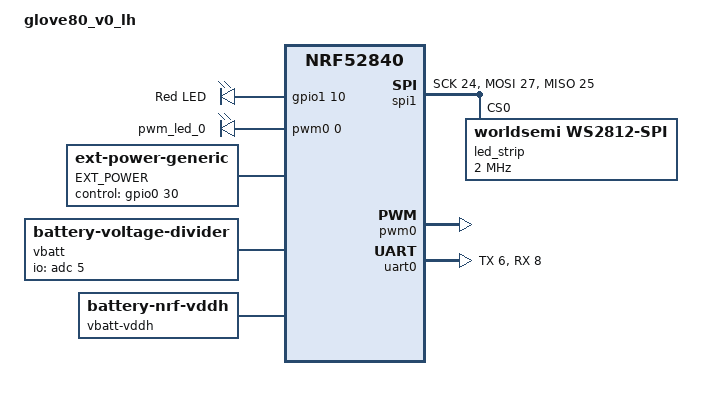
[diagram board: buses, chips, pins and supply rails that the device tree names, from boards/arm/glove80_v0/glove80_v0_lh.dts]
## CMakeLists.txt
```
cmake_minimum_required(VERSION 3.13.1)

set(CONFIG_APPLICATION_DEFINED_SYSCALL true)

set(ZEPHYR_EXTRA_MODULES "${ZMK_EXTRA_MODULES};${CMAKE_CURRENT_SOURCE_DIR}/module;${CMAKE_CURRENT_SOURCE_DIR}/keymap-module")

# Find Zephyr. This also loads Zephyr's build system.
find_package(Zephyr REQUIRED HINTS ../zephyr)
project(zmk)

if(CONFIG_ZMK_SLEEP)
  zephyr_linker_sources(SECTIONS include/linker/zmk-pm-devices.ld)
endif()

zephyr_linker_sources(SECTIONS include/linker/zmk-behaviors.ld)
zephyr_linker_sources(RODATA include/linker/zmk-events.ld)

zephyr_syscall_header(${APPLICATION_SOURCE_DIR}/include/drivers/behavior.h)
zephyr_syscall_header(${APPLICATION_SOURCE_DIR}/include/drivers/ext_power.h)

# Add your source file to the "app" target. This must come after
# find_package(Zephyr) which defines the target.
target_include_directories(app PRIVATE include)
target_sources(app PRIVATE src/stdlib.c)
target_sources(app PRIVATE src/activity.c)
target_sources(app PRIVATE src/behavior.c)
target_sources(app PRIVATE src/kscan.c)
target_sources(app PRIVATE src/matrix_transform.c)
target_sources(app PRIVATE src/sensors.c)
target_sources_ifdef(CONFIG_ZMK_WPM app PRIVATE src/wpm.c)
target_sources(app PRIVATE src/event_manager.c)
target_sources_ifdef(CONFIG_ZMK_EXT_POWER app PRIVATE src/ext_power_generic.c)
target_sources(app PRIVATE src/events/activity_state_changed.c)
target_sources(app PRIVATE src/events/position_state_changed.c)
target_sources(app PRIVATE src/events/sensor_event.c)
target_sources(app PRIVATE src/events/mouse_button_state_changed.c)
target_sources_ifdef(CONFIG_ZMK_WPM app PRIVATE src/events/wpm_state_changed.c)
target_sources_ifdef(CONFIG_USB_DEVICE_STACK app PRIVATE src/events/usb_conn_state_changed.c)
target_sources(app PRIVATE src/behaviors/behavior_reset.c)
target_sources_ifdef(CONFIG_ZMK_EXT_POWER app PRIVATE src/behaviors/behavior_ext_power.c)
if ((NOT CONFIG_ZMK_SPLIT) OR CONFIG_ZMK_SPLIT_ROLE_CENTRAL)
  target_sources(app PRIVATE src/hid.c)
  target_sources_ifdef(CONFIG_ZMK_MOUSE app PRIVATE src/mouse.c)
  target_sources(app PRIVATE src/behaviors/behavior_key_press.c)
  target_sources_ifdef(CONFIG_ZMK_BEHAVIOR_KEY_TOGGLE app PRIVATE src/behaviors/behavior_key_toggle.c)
  target_sources(app PRIVATE src/behaviors/behavior_hold_tap.c)
  target_sources(app PRIVATE src/behaviors/behavior_sticky_key.c)
  target_sources(app PRIVATE src/behaviors/behavior_caps_word.c)
  target_sources(app PRIVATE src/behaviors/behavior_key_repeat.c)
  target_sources_ifdef(CONFIG_ZMK_BEHAVIOR_MACRO app PRIVATE src/behaviors/behavior_macro.c)
  target_sources(app PRIVATE src/behaviors/behavior_momentary_layer.c)
  target_sources(app PRIVATE src/behaviors/behavior_mod_morph.c)
  target_sources(app PRIVATE src/behaviors/behavior_outputs.c)
  target_sources(app PRIVATE src/behaviors/behavior_toggle_layer.c)
  target_sources(app PRIVATE src/behaviors/behavior_to_layer.c)
  target_sources(app PRIVATE src/behaviors/behavior_transparent.c)
  target_sources(app PRIVATE src/behaviors/behavior_none.c)
  target_sources_ifdef(CONFIG_ZMK_BEHAVIOR_SENSOR_ROTATE app PRIVATE src/behaviors/behavior_sensor_rotate.c)
  target_sources_ifdef(CONFIG_ZMK_BEHAVIOR_SENSOR_ROTATE_VAR app PRIVATE src/behaviors/behavior_sensor_rotate_var.c)
  target_sources_ifdef(CONFIG_ZMK_BEHAVIOR_SENSOR_ROTATE_COMMON app PRIVATE src/behaviors/behavior_sensor_rotate_common.c)
  target_sources_ifdef(CONFIG_ZMK_BEHAVIOR_MOUSE_KEY_PRESS app PRIVATE src/behaviors/behavior_mouse_key_press.c)
  target_sources(app PRIVATE src/combo.c)
  target_sources(app PRIVATE src/behaviors/behavior_tap_dance.c)
  target_sources(app PRIVATE src/behavior_queue.c)
  target_sources(app PRIVATE src/conditional_layer.c)
  target_sources(app PRIVATE src/endpoints.c)
  target_sources(app PRIVATE src/events/endpoint_changed.c)
  target_sources(app PRIVATE src/hid_listener.c)
  target_sources(app PRIVATE src/keymap.c)
  target_sources(app PRIVATE src/events/layer_state_changed.c)
  target_sources(app PRIVATE src/events/modifiers_state_changed.c)
  target_sources(app PRIVATE src/events/keycode_state_changed.c)
  target_sources_ifdef(CONFIG_ZMK_HID_INDICATORS app PRIVATE src/hid_indicators.c)

  if (CONFIG_ZMK_BLE)
    target_sources(app PRIVATE src/events/ble_active_profile_changed.c)
    target_sources(app PRIVATE src/behaviors/behavior_bt.c)
    target_sources(app PRIVATE src/ble.c)
    target_sources(app PRIVATE src/hog.c)
  endif()
endif()

if (CONFIG_ZMK_BLE)
  if (CONFIG_ZMK_SPLIT_ROLE_CENTRAL)
	  target_sources(app PRIVATE src/battery_split.c)
  else()
    target_sources(app PRIVATE src/battery.c)
  endif()
endif()

target_sources_ifdef(CONFIG_ZMK_RGB_UNDERGLOW app PRIVATE src/behaviors/behavior_rgb_underglow.c)
target_sources_ifdef(CONFIG_ZMK_BACKLIGHT app PRIVATE src/behaviors/behavior_backlight.c)

target_sources_ifdef(CONFIG_ZMK_BATTERY_REPORTING app PRIVATE src/events/battery_state_changed.c)
target_sources_ifdef(CONFIG_ZMK_BATTERY_REPORTING app PRIVATE src/battery.c)

target_sources_ifdef(CONFIG_ZMK_HID_INDICATORS app PRIVATE src/events/hid_indicators_changed.c)

target_sources_ifdef(CONFIG_ZMK_SPLIT app PRIVATE src/events/split_peripheral_status_changed.c)
add_subdirectory(src/split)

target_sources_ifdef(CONFIG_USB_DEVICE_STACK app PRIVATE src/usb.c)
target_sources_ifdef(CONFIG_ZMK_RGB_UNDERGLOW app PRIVATE src/rgb_underglow.c)
target_sources_ifdef(CONFIG_ZMK_BACKLIGHT app PRIVATE src/backlight.c)
target_sources_ifdef(CONFIG_ZMK_LOW_PRIORITY_WORK_QUEUE app PRIVATE src/workqueue.c)
target_sources(app PRIVATE src/main.c)

add_subdirectory(src/display/)

zephyr_cc_option(-Wfatal-errors)
```

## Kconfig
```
# Copyright (c) 2020 The ZMK Contributors
# SPDX-License-Identifier: MIT

mainmenu "ZMK Firmware"

menu "ZMK"

menu "Basic Keyboard Setup"

config ZMK_KEYBOARD_NAME
    string "Keyboard Name"

config USB_DEVICE_PRODUCT
    default ZMK_KEYBOARD_NAME

config BT_DEVICE_NAME
    default ZMK_KEYBOARD_NAME

config USB_DEVICE_VID
    default 0x1D50

config USB_DEVICE_PID
    default 0x615E

config USB_DEVICE_MANUFACTURER
    default "ZMK Project"

config BT_DIS_PNP_VID
    default 0x1D50

config BT_DIS_PNP_PID
    default 0x615E

config BT_DIS_MODEL
    default ZMK_KEYBOARD_NAME

config BT_DIS_MANUF
    default "ZMK Project"

# Hardware specific overrides

if SOC_SERIES_NRF52X

# Default on for our usage until boards implement retained bootmode.
config NRF_STORE_REBOOT_TYPE_GPREGRET
    bool
    default y

endif

menu "HID"

choice ZMK_HID_REPORT_TYPE
    prompt "HID Report Type"

config ZMK_HID_REPORT_TYPE_HKRO
    bool "#-Key Roll Over (HKRO) HID Report"
    help
      Enable # key roll over for HID report. This selection is "boot keyboard" compatible
      but limits the total number of possible keys to report as held to #.

config ZMK_HID_REPORT_TYPE_NKRO
    bool "Full N-Key Roll Over (NKRO) HID Report"
    help
      Enable full N-Key Roll Over for HID output. This selection will prevent the keyboard
      from working with some BIOS/UEFI versions that only support "boot keyboard" support.
      This option also prevents using some infrequently used higher range HID usages (notably F13-F24 and INTL1-9)
      These usages can be re enabled with ZMK_HID_KEYBOARD_NKRO_EXTENDED_REPORT.

endchoice

config ZMK_HID_KEYBOARD_NKRO_EXTENDED_REPORT
    bool "Enable extended NKRO reporting"
    depends on ZMK_HID_REPORT_TYPE_NKRO
    help
      Enables higher usage range for NKRO (F13-F24 and INTL1-9).
      Please note this is not compatible with Android currently and you will get no input


if ZMK_HID_REPORT_TYPE_HKRO

config ZMK_HID_KEYBOARD_REPORT_SIZE
    int "# Keyboard Keys Reportable"
    default 6

endif

config ZMK_HID_CONSUMER_REPORT_SIZE
    int "# Consumer Keys Reportable"
    default 6


choice ZMK_HID_CONSUMER_REPORT_USAGES
    prompt "HID Report Type"

config ZMK_HID_CONSUMER_REPORT_USAGES_FULL
    bool "Full Consumer HID Usage Support"
    help
      Enable full Consumer usage ID values to be sent to hosts. Allows for less
      frequently used usages, but has compatibability issues with some host OSes.

config ZMK_HID_CONSUMER_REPORT_USAGES_BASIC
    bool "Basic Consumer HID Usage Support"
    help
      Enable Consumer usage ID values up to "Playback Speed - Slow" to be sent to
      hosts. Allows for broader compatibability with more host OSes.

endchoice

config ZMK_HID_INDICATORS
    bool "HID Indicators"
    help
      Enable HID indicators, used for detecting state of Caps/Scroll/Num Lock,
      Kata, and Compose.

menu "Output Types"

config ZMK_USB
    bool "USB"
    depends on (!ZMK_SPLIT || (ZMK_SPLIT && ZMK_SPLIT_ROLE_CENTRAL))
    select USB
    select USB_DEVICE_STACK
    select USB_DEVICE_HID

config ZMK_USB_BOOT
    bool "USB Boot Protocol Support"
    depends on ZMK_USB
    select USB_HID_BOOT_PROTOCOL
    select USB_DEVICE_SOF

if ZMK_USB

config USB_NUMOF_EP_WRITE_RETRIES
    default 10

config USB_HID_POLL_INTERVAL_MS
    default 1

config ZMK_USB_BOOT
	bool "USB Boot Protocol Support"
	default y
	select USB_HID_BOOT_PROTOCOL
	select USB_DEVICE_SOF

if ZMK_USB_BOOT

# Declare boot keyboard interface
config USB_HID_PROTOCOL_CODE
	default 1

#ZMK_USB_BOOT
endif

#ZMK_USB
endif

menuconfig ZMK_BLE
    bool "BLE (HID over GATT)"
    select BT
    select BT_SMP
    select BT_SMP_SC_PAIR_ONLY
    select BT_SMP_APP_PAIRING_ACCEPT
    select BT_PERIPHERAL
    select BT_DIS
    imply BT_SETTINGS if !ARCH_POSIX
    imply SETTINGS if !ARCH_POSIX
    imply ZMK_BATTERY_REPORTING if !ARCH_POSIX

if ZMK_BLE

config ZMK_BLE_EXPERIMENTAL_CONN
    bool "Experimental BLE connection changes"
    help
      Enables a combination of settings that are planned to be default in future versions of ZMK
      to improve connection stability. This includes changes to timing on BLE pairing initation,
      restores use of the updated/new LLCP implementation, and disables 2M PHY support.

config ZMK_BLE_EXPERIMENTAL_SEC
    bool "Experimental BLE security changes"
    imply BT_SMP_ALLOW_UNAUTH_OVERWRITE
    help
      Enables a combination of settings that are planned to be officially supported in the future.
      This includes enabling BT Secure Connection passkey entry, and allows overwrite of keys from
      previously paired hosts.

config ZMK_BLE_EXPERIMENTAL_FEATURES
    bool "Experimental BLE connection and security settings/features"
    select ZMK_BLE_EXPERIMENTAL_CONN
    select ZMK_BLE_EXPERIMENTAL_SEC
    help
      Enables experimental connection changes and security features.

config ZMK_BLE_PASSKEY_ENTRY
    bool "Require passkey entry on the keyboard to complete pairing"
    default n
    select RING_BUFFER

config BT_SMP_ALLOW_UNAUTH_OVERWRITE
    imply ZMK_BLE_PASSKEY_ENTRY

config BT_CTLR_PHY_2M
    default n if ZMK_BLE_EXPERIMENTAL_CONN

# BT_TINYCRYPT_ECC is required for BT_SMP_SC_PAIR_ONLY when using HCI
config BT_TINYCRYPT_ECC
    default y if BT_HCI && !BT_CTLR

config SYSTEM_WORKQUEUE_STACK_SIZE
    default 4096 if SOC_RP2040
    default 2048

config ZMK_BLE_THREAD_STACK_SIZE
    int "BLE notify thread stack size"
    default 768

config ZMK_BLE_THREAD_PRIORITY
    int "BLE notify thread priority"
    default 5

config ZMK_BLE_KEYBOARD_REPORT_QUEUE_SIZE
    int "Max number of keyboard HID reports to queue for sending over BLE"
    default 20

config ZMK_BLE_CONSUMER_REPORT_QUEUE_SIZE
    int "Max number of consumer HID reports to queue for sending over BLE"
    default 5

config ZMK_BLE_MOUSE_REPORT_QUEUE_SIZE
    int "Max number of mouse HID reports to queue for sending over BLE"
    default 20

config ZMK_BLE_CLEAR_BONDS_ON_START
    bool "Configuration that clears all bond information from the keyboard on startup."
    default n

config ZMK_BLE_DEVICE_NAME_APPEND_SN
    bool "Append the device serial number to the Bluetooth device name"
    default n
    select BT_DEVICE_NAME_DYNAMIC

config ZMK_BLE_DEVICE_NAME_SN_CHARS
    int "Number of hexadecimal digits of serial number to append to the BT device name"
    default 6
    depends on ZMK_BLE_DEVICE_NAME_APPEND_SN

# HID GATT notifications sent this way are *not* picked up by Linux, and possibly others.
config BT_GATT_NOTIFY_MULTIPLE
    default n

config BT_GATT_AUTO_SEC_REQ
    default (ZMK_SPLIT_BLE && !ZMK_SPLIT_ROLE_CENTRAL)

config BT_DEVICE_APPEARANCE
    default 961

config BT_PERIPHERAL_PREF_MIN_INT
    default 6

config BT_PERIPHERAL_PREF_MAX_INT
    default 12

config BT_PERIPHERAL_PREF_LATENCY
    default 30

config BT_PERIPHERAL_PREF_TIMEOUT
    default 400

#ZMK_BLE
endif

#Output Types
endmenu

# HID
endmenu

rsource "src/split/Kconfig"

#Basic Keyboard Setup
endmenu

menu "Display/LED Options"

rsource "src/display/Kconfig"

menuconfig ZMK_RGB_UNDERGLOW
    bool "RGB Adressable LED Underglow"
    select LED_STRIP
    select ZMK_LOW_PRIORITY_WORK_QUEUE

if ZMK_RGB_UNDERGLOW

# This default value cuts down on tons of excess .conf files, if you're using GPIO, manually disable this
config SPI
    default y

config ZMK_RGB_UNDERGLOW_EXT_POWER
    bool "RGB underglow toggling also controls external power"
    default y

config ZMK_RGB_UNDERGLOW_BRT_MIN
    int "RGB underglow minimum brightness in percent"
    range 0 100
    default 0

config ZMK_RGB_UNDERGLOW_BRT_MAX
    int "RGB underglow maximum brightness in percent"
    range ZMK_RGB_UNDERGLOW_BRT_MIN 100
    default 100

config ZMK_RGB_UNDERGLOW_HUE_STEP
    int "RGB underglow hue step in degrees"
    range 0 359
    default 10

config ZMK_RGB_UNDERGLOW_SAT_STEP
    int "RGB underglow saturation step in percent"
    range 0 100
    default 10

config ZMK_RGB_UNDERGLOW_BRT_STEP
    int "RGB underglow brightness step in percent"
    range 0 100
    default 10

config ZMK_RGB_UNDERGLOW_HUE_START
    int "RGB underglow start hue value in degrees"
    range 0 359
    default 0

config ZMK_RGB_UNDERGLOW_SAT_START
    int "RGB underglow start saturations value in percent"
    range 0 100
    default 100

config ZMK_RGB_UNDERGLOW_BRT_START
    int "RGB underglow start brightness value in percent"
    range ZMK_RGB_UNDERGLOW_BRT_MIN ZMK_RGB_UNDERGLOW_BRT_MAX
    default ZMK_RGB_UNDERGLOW_BRT_MAX

config ZMK_RGB_UNDERGLOW_SPD_START
    int "RGB underglow start animation speed value"
    range 1 5
    default 3

config ZMK_RGB_UNDERGLOW_EFF_START
    int "RGB underglow start effect int value related to the effect enum list"
    range 0 3
    default 0

config ZMK_RGB_UNDERGLOW_ON_START
    bool "RGB underglow starts on by default"
    default y

config ZMK_RGB_UNDERGLOW_AUTO_OFF_IDLE
    bool "Turn off RGB underglow when keyboard goes into idle state"

config ZMK_RGB_UNDERGLOW_AUTO_OFF_USB
    bool "Turn off RGB underglow when USB is disconnected"
    depends on USB_DEVICE_STACK

#ZMK_RGB_UNDERGLOW
endif

menuconfig ZMK_BACKLIGHT
    bool "LED backlight"
    select LED

if ZMK_BACKLIGHT

config ZMK_BACKLIGHT_BRT_STEP
    int "Brightness step in percent"
    range 1 100
    default 20

config ZMK_BACKLIGHT_BRT_START
    int "Default brightness in percent"
    range 1 100
    default 40

config ZMK_BACKLIGHT_ON_START
    bool "Default backlight state"
    default y

config ZMK_BACKLIGHT_AUTO_OFF_IDLE
    bool "Turn off backlight when keyboard goes into idle state"

config ZMK_BACKLIGHT_AUTO_OFF_USB
    bool "Turn off backlight when USB is disconnected"

#ZMK_BACKLIGHT
endif

menuconfig ZMK_LED_INDICATORS
	bool "LED indicators"
	select LED

if ZMK_LED_INDICATORS

config ZMK_LED_INDICATORS_BRT
	int "Brightness in percent"
	range 1 100
	default 80

#ZMK_LED_INDICATORS
endif

#Display/LED Options
endmenu

menu "Mouse Options"

config ZMK_MOUSE
    bool "Enable ZMK mouse emulation"
    default n

#Mouse Options
endmenu

menu "Power Management"

config ZMK_BATTERY_REPORTING
    bool "Battery level detection/reporting"
    default n
    select SENSOR
    select ZMK_LOW_PRIORITY_WORK_QUEUE
    imply BT_BAS if ZMK_BLE

config ZMK_IDLE_TIMEOUT
    int "Milliseconds of inactivity before entering idle state (OLED shutoff, etc)"
    default 30000

config ZMK_SLEEP
    bool "Enable deep sleep support"
    depends on HAS_POWEROFF
    select POWEROFF
    imply USB

if ZMK_SLEEP

config PM_DEVICE
    default y

config ZMK_IDLE_SLEEP_TIMEOUT
    int "Milliseconds of inactivity before entering deep sleep"
    default 900000

#ZMK_SLEEP
endif

config ZMK_EXT_POWER
    bool "Enable support to control external power output"
    default y

if ZMK_EXT_POWER

config ZMK_EXT_POWER_START
    bool "Enable external power output by default"
    default y

#ZMK_EXT_POWER
endif

if ZMK_EXT_POWER

config ZMK_EXT_POWER_START
	bool "Enable external power output by default"
	default y

#ZMK_EXT_POWER
endif

#Power Management
endmenu

menu "Combo options"

config ZMK_COMBO_MAX_PRESSED_COMBOS
    int "Maximum number of currently pressed combos"
    default 4

config ZMK_COMBO_MAX_COMBOS_PER_KEY
    int "Maximum number of combos per key"
    default 5

config ZMK_COMBO_MAX_KEYS_PER_COMBO
    int "Maximum number of keys per combo"
    default 4

#Combo options
endmenu

menu "Behavior Options"

config ZMK_BEHAVIORS_QUEUE_SIZE
    int "Maximum number of behaviors to allow queueing from a macro or other complex behavior"
    default 64

rsource "Kconfig.behaviors"

config ZMK_MACRO_DEFAULT_WAIT_MS
    int "Default time to wait (in milliseconds) before triggering the next behavior in macros"
    default 15

config ZMK_MACRO_DEFAULT_TAP_MS
    int "Default time to wait (in milliseconds) between the press and release events of a tapped behavior in macros"
    default 30

endmenu

menu "Advanced"

menu "Initialization Priorities"

if USB_DEVICE_STACK

config ZMK_USB_INIT_PRIORITY
    int "USB Init Priority"
    default 50

#USB
endif

if ZMK_BLE || ZMK_SPLIT_BLE

config ZMK_BLE_INIT_PRIORITY
    int "BLE Init Priority"
    default 50

#ZMK_BLE || ZMK_SPLIT_BLE
endif

#Initialization Priorities
endmenu

menuconfig ZMK_KSCAN
    bool "ZMK KScan Integration"
    default y
    select KSCAN

if ZMK_KSCAN

config ZMK_KSCAN_EVENT_QUEUE_SIZE
    int "Size of the event queue for KSCAN events to buffer events"
    default 4

endif # ZMK_KSCAN

menu "Logging"

config ZMK_LOGGING_MINIMAL
    bool "Suppress all ZMK debug log messages"
    default false

if !ZMK_LOGGING_MINIMAL

config ZMK_LOG_LEVEL
    default 4

endif

config ZMK_USB_LOGGING
    bool "Enable USB CDC ACM logging to help debug"
    select LOG
    select USB
    select USB_DEVICE_STACK
    select USB_CDC_ACM
    select SERIAL
    select CONSOLE
    select UART_INTERRUPT_DRIVEN
    select UART_LINE_CTRL
    select UART_CONSOLE
    select USB_UART_CONSOLE

if ZMK_USB_LOGGING

choice USB_CDC_ACM_LOG_LEVEL_CHOICE
    default USB_CDC_ACM_LOG_LEVEL_OFF
endchoice

choice USB_DRIVER_LOG_LEVEL_CHOICE
    default USB_DRIVER_LOG_LEVEL_OFF
endchoice

# We do this to avoid log loop where logging to USB generates more log messages.

config USB_CDC_ACM_RINGBUF_SIZE
    default 1024

config LOG_PROCESS_THREAD_STARTUP_DELAY_MS
    default 1000

#ZMK_USB_LOGGING
endif

config ZMK_RTT_LOGGING
    bool "Enable RTT logging to help debug"
    select LOG
    select DEBUG
    select ASSERT
    select USE_SEGGER_RTT
    select CONSOLE
    select RTT_CONSOLE

if ZMK_RTT_LOGGING

config SEGGER_RTT_BUFFER_SIZE_UP
    default 8192

#ZMK_RTT_LOGGING
endif

if ZMK_USB_LOGGING || ZMK_RTT_LOGGING

config LOG_BUFFER_SIZE
    default 8192

config LOG_PROCESS_THREAD_SLEEP_MS
    default 100

#ZMK_USB_LOGGING || ZMK_RTT_LOGGING
endif

#Logging
endmenu

if SETTINGS

config ZMK_SETTINGS_SAVE_DEBOUNCE
    int "Milliseconds to debounce settings saves"
    default 60000

#SETTINGS
endif

config ZMK_BATTERY_REPORT_INTERVAL
    depends on ZMK_BATTERY_REPORTING
    int "Battery level report interval in seconds"
    default 60

config ZMK_LOW_PRIORITY_WORK_QUEUE
    bool "Work queue for low priority items"

if ZMK_LOW_PRIORITY_WORK_QUEUE

config ZMK_LOW_PRIORITY_THREAD_STACK_SIZE
    int "Low priority thread stack size"
    default 768

config ZMK_LOW_PRIORITY_THREAD_PRIORITY
    int "Low priority thread priority"
    default 10

endif

#Advanced
endmenu

#ZMK
endmenu

config KERNEL_BIN_NAME
    default "zmk"

config REBOOT
    default y

config USB_DEVICE_STACK
    default y if HAS_HW_NRF_USBD

config FPU
    default CPU_HAS_FPU

config ZMK_WPM
    bool "Calculate WPM"
    default n

config ZMK_KEYMAP_SENSORS
    bool "Enable Keymap Sensors support"
    default y
    depends on DT_HAS_ZMK_KEYMAP_SENSORS_ENABLED
    select SENSOR

if ZMK_KEYMAP_SENSORS

config ZMK_KEYMAP_SENSORS_DEFAULT_TRIGGERS_PER_ROTATION
    int "Default triggers per rotation"
    help
      Unless overridden for a sensor in the board/shield/devicetree, this value
      determines how many times to trigger the bound behavior per full rotation.
      For tactile encoders with detents, this usually should match the number of
      detents per rotation of the encoder.
    default 20

endif # ZMK_KEYMAP_SENSORS

choice CBPRINTF_IMPLEMENTATION
    default CBPRINTF_NANO

endchoice

module = ZMK
module-str = zmk
source "subsys/logging/Kconfig.template.log_config"

rsource "boards/Kconfig"
rsource "boards/shields/*/Kconfig.defconfig"
rsource "boards/shields/*/Kconfig.shield"

osource "$(ZMK_CONFIG)/boards/shields/*/Kconfig.defconfig"
osource "$(ZMK_CONFIG)/boards/shields/*/Kconfig.shield"


source "Kconfig.zephyr"
```

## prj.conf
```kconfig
CONFIG_ZMK_BEHAVIORS_QUEUE_SIZE=512

# Increase stacks to reduce possibility of an overflow.
CONFIG_MAIN_STACK_SIZE=2048
CONFIG_SYSTEM_WORKQUEUE_STACK_SIZE=2048
CONFIG_ZMK_BLE_THREAD_STACK_SIZE=2048
CONFIG_ZMK_BLE_SPLIT_CENTRAL_SPLIT_RUN_STACK_SIZE=2048
CONFIG_ISR_STACK_SIZE=2048
CONFIG_APPLICATION_DEFINED_SYSCALL=y
```

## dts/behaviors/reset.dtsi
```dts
/*
 * Copyright (c) 2020 The ZMK Contributors
 *
 * SPDX-License-Identifier: MIT
 */

#include <dt-bindings/zmk/reset.h>

/ {
	behaviors {
		reset: behavior_reset {
			compatible = "zmk,behavior-reset";
			label = "RESET";
			#binding-cells = <0>;
		};

		bootloader: behavior_reset_dfu {
			compatible = "zmk,behavior-reset";
			label = "BOOTLOAD";
			type = <RST_UF2>;
			#binding-cells = <0>;
		};

		ota_bootloader: behavior_reset_dfu_ota {
			compatible = "zmk,behavior-reset";
			label = "OTA_BOOTLOAD";
			type = <RST_OTA>;
			#binding-cells = <0>;
		};
	};
};
```

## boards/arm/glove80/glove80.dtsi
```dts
/*
 * Copyright (c) 2020 Pete Johanson
 *
 * SPDX-License-Identifier: MIT
 */

#include <dt-bindings/zmk/matrix_transform.h>

/ {
	chosen {
		zmk,kscan = &kscan0;
		zmk,matrix_transform = &default_transform;
		zephyr,code-partition = &code_partition;
		zephyr,sram = &sram0;
		zephyr,flash = &flash0;
		zephyr,console = &cdc_acm_uart;
	};

	default_transform: keymap_transform_0 {
		compatible = "zmk,matrix-transform";
		columns = <14>;
		rows = <6>;
		map = <
RC(0,0) RC(0,1) RC(0,2) RC(0,3) RC(0,4)                                                                    RC(0,9) RC(0,10) RC(0,11) RC(0,12) RC(0,13)
RC(1,0) RC(1,1) RC(1,2) RC(1,3) RC(1,4) RC(1,5)                                                    RC(1,8) RC(1,9) RC(1,10) RC(1,11) RC(1,12) RC(1,13)
RC(2,0) RC(2,1) RC(2,2) RC(2,3) RC(2,4) RC(2,5)                                                    RC(2,8) RC(2,9) RC(2,10) RC(2,11) RC(2,12) RC(2,13)
RC(3,0) RC(3,1) RC(3,2) RC(3,3) RC(3,4) RC(3,5)                                                    RC(3,8) RC(3,9) RC(3,10) RC(3,11) RC(3,12) RC(3,13)
RC(4,0) RC(4,1) RC(4,2) RC(4,3) RC(4,4) RC(4,5) RC(0,6) RC(1,6) RC(2,6)   RC(2,7) RC(1,7)  RC(0,7) RC(4,8) RC(4,9) RC(4,10) RC(4,11) RC(4,12) RC(4,13)
RC(5,0) RC(5,1) RC(5,2) RC(5,3) RC(5,4)         RC(3,6) RC(4,6) RC(5,6)   RC(5,7) RC(4,7)  RC(3,7)         RC(5,9) RC(5,10) RC(5,11) RC(5,12) RC(5,13)
		>;
	};

	kscan0: kscan {
		compatible = "zmk,kscan-gpio-matrix";
		label = "KSCAN";

		diode-direction = "col2row";
		debounce-press-ms = <4>;
		debounce-release-ms = <20>;
	};

};

&adc {
	status = "okay";
};

&gpiote {
	status = "okay";
};

&gpio0 {
	status = "okay";
};

&gpio1 {
	status = "okay";
};

&usbd {
	status = "okay";
	cdc_acm_uart: cdc_acm_uart {
		compatible = "zephyr,cdc-acm-uart";
		label = "CDC_ACM_0";
	};
};

&flash0 {
	/*
	 * For more information, see:
	 * http://docs.zephyrproject.org/latest/devices/dts/flash_partitions.html
	 */
	partitions {
		compatible = "fixed-partitions";
		#address-cells = <1>;
		#size-cells = <1>;

		sd_partition: partition@0 {
			label = "softdevice";
			reg = <0x00000000 0x00026000>;
		};
		

        code_partition: partition@1000 {
            label = "code_partition";
            reg = <0x00026000 0x000c6000>;
        };

		/*
		 * The flash starting at 0x000ec000 and ending at
		 * 0x000f3fff is reserved for use by the application.
		 */

		/*
		 * Storage partition will be used by FCB/LittleFS/NVS
		 * if enabled.
		 */
		storage_partition: partition@ec000 {
			label = "storage";
			reg = <0x000ec000 0x00008000>;
		};

		boot_partition: partition@f4000 {
			label = "adafruit_boot";
			reg = <0x000f4000 0x0000c000>;
		};
	};
};
```

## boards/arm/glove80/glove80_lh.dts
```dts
/*
 * Copyright (c) 2021 The ZMK Contributors
 *
 * SPDX-License-Identifier: MIT
 */

/dts-v1/;
#include <nordic/nrf52840_qiaa.dtsi>
#include <dt-bindings/led/led.h>
#include "glove80.dtsi"

/ {
	model = "glove80_lh";
	compatible = "glove80_lh";

	chosen {
		zmk,underglow = &led_strip;
        zmk,backlight = &back_led_backlight;
		zmk,battery   = &vbatt;
		zmk,underglow-indicators = &underglow_indicators;
	};

	back_led_backlight: pwmleds {
		compatible = "pwm-leds";
		label = "BACK LED";
		pwm_led_0 {
			pwms = <&pwm0 47>; 
			label = "Back LED configured as backlight";
		};
	};

	ext-power {
		compatible = "zmk,ext-power-generic";
		label = "EXT_POWER";
		control-gpios = <&gpio0 31 GPIO_ACTIVE_HIGH>; /* WS2812_CE */
		init-delay-ms = <100>;
	};

	vbatt: vbatt-divider {
		compatible = "zmk,battery-voltage-divider";
		label = "BATTERY";
		io-channels = <&adc 5>;
		output-ohms = <820000>; 
		full-ohms = <(1500000 + 820000)>;
	};

	vbatt-vddh {
		compatible = "zmk,battery-nrf-vddh";
		label = "BATTERY-VDDH";
	};

/*
  MoErgo 40 LEDs

  34 28 22 16 10
  35 29 23 17 11 6
  36 30 24 18 12 7
  37 31 25 19 13 8
  38 32 26 20 14 9
  39 33 27 21 15
                0 1 2
                3 4 5
*/

	underglow_indicators: underglow-indicators {
		compatible  = "zmk,underglow-indicators";
		layer-state = <35 29 23 17 11 6>;
		bat-lhs     = <36 30 24 18 12 7>;
		bat-rhs     = <37 31 25 19 13 8>;
		capslock    = <22>;
		numlock     = <16>;
		scrolllock  = <10>;
		ble-state   = <3 4 0 1>;
		usb-state   = <5>;
		output-fallback = <15>;
	};
};

&spi1 {
	compatible = "nordic,nrf-spim";
	/* Cannot be used together with i2c0. */
	status = "okay";
	mosi-pin = <27>; /* WS2812_VEXT_DATA */
	// Unused pins, needed for SPI definition, but not used by the ws2812 driver itself.
	sck-pin = <13>; /* Must select a not connected pin */
	miso-pin = <14>; /* Must select a not connected pin */

	led_strip: ws2812@0 {
		compatible = "worldsemi,ws2812-spi";
		label = "WS2812C-2020";

		/* SPI */
		reg = <0>; /* ignored, but necessary for SPI bindings */
		spi-max-frequency = <4000000>;

		/* WS2812 */
		chain-length = <40>; /* 40 keys have underglow at the moment */
		spi-one-frame = <0x70>;
		spi-zero-frame = <0x40>;

		color-mapping = <LED_COLOR_ID_GREEN LED_COLOR_ID_RED LED_COLOR_ID_BLUE>;
	};
};

&pwm0 {
	status = "okay";
	ch0-pin = <47>; 
};


/* [SC] Pretty sure this is not required
&uart0 {
	compatible = "nordic,nrf-uarte";
	tx-pin = <6>;
	rx-pin = <8>;
};
*/

&kscan0 {
	row-gpios
		= <&gpio0 26 (GPIO_ACTIVE_HIGH | GPIO_PULL_DOWN)> // LH ROW1
		, <&gpio0 5 (GPIO_ACTIVE_HIGH | GPIO_PULL_DOWN)> // LH ROW2
		, <&gpio0 6 (GPIO_ACTIVE_HIGH | GPIO_PULL_DOWN)> // LH ROW3
		, <&gpio0 8 (GPIO_ACTIVE_HIGH | GPIO_PULL_DOWN)> // LH ROW4
		, <&gpio0 7 (GPIO_ACTIVE_HIGH | GPIO_PULL_DOWN)> // LH ROW5
		, <&gpio1 9 (GPIO_ACTIVE_HIGH | GPIO_PULL_DOWN)> // LH ROW6
		;
	col-gpios
		= <&gpio1 8 GPIO_ACTIVE_HIGH> // LH COL6
		, <&gpio1 4 GPIO_ACTIVE_HIGH> // LH COL5
		, <&gpio1 6 GPIO_ACTIVE_HIGH> // LH COL4
		, <&gpio1 7 GPIO_ACTIVE_HIGH> // LH COL3
		, <&gpio1 5 GPIO_ACTIVE_HIGH> // LH COL2
		, <&gpio1 3 GPIO_ACTIVE_HIGH> // LH COL1
		, <&gpio1 1 GPIO_ACTIVE_HIGH> // LH Thumb
		;
	input-gpios
		= <&gpio1 8 GPIO_ACTIVE_HIGH>; // LH COL6
};
```

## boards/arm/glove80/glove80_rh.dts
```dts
/*
 * Copyright (c) 2021 The ZMK Contributors
 *
 * SPDX-License-Identifier: MIT
 */

/dts-v1/;
#include <nordic/nrf52840_qiaa.dtsi>
#include <dt-bindings/led/led.h>
#include "glove80.dtsi"

/ {
	model = "glove80_rh";
	compatible = "glove80_rh";

	chosen {
		zmk,underglow = &led_strip;
        zmk,backlight = &back_led_backlight;
		zmk,battery   = &vbatt;
	};

	back_led_backlight: pwmleds {
		compatible = "pwm-leds";
		label = "BACK LED";
		pwm_led_0 {
			pwms = <&pwm0 16>; 
			label = "Back LED configured as backlight";
		};
	};

	ext-power {
		compatible = "zmk,ext-power-generic";
		label = "EXT_POWER";
		control-gpios = <&gpio0 19 GPIO_ACTIVE_HIGH>; /* WS2812_CE */
		init-delay-ms = <100>;
	};

	vbatt: vbatt-divider {
		compatible = "zmk,battery-voltage-divider";
		label = "BATTERY";
		io-channels = <&adc 5>;
		output-ohms = <820000>; 
		full-ohms = <(1500000 + 820000)>;
	};

	vbatt-vddh {
		compatible = "zmk,battery-nrf-vddh";
		label = "BATTERY-VDDH";
	};
};

&spi1 {
	compatible = "nordic,nrf-spim";
	/* Cannot be used together with i2c0. */
	status = "okay";
	mosi-pin = <13>; /* WS2812_VEXT_DATA */
	// Unused pins, needed for SPI definition, but not used by the ws2812 driver itself.
	sck-pin = <27>; /* Must select a not connected pin */
	miso-pin = <14>; /* Must select a not connected pin */

	led_strip: ws2812@0 {
		compatible = "worldsemi,ws2812-spi";
		label = "WS2812C-2020";

		/* SPI */
		reg = <0>; /* ignored, but necessary for SPI bindings */
		spi-max-frequency = <4000000>;

		/* WS2812 */
		chain-length = <40>; /* 40 keys have underglow at the moment */
		spi-one-frame = <0x70>;
		spi-zero-frame = <0x40>;

		color-mapping = <LED_COLOR_ID_GREEN LED_COLOR_ID_RED LED_COLOR_ID_BLUE>;
	};
};

&pwm0 {
	status = "okay";
	ch0-pin = <16>; 
};


/* [SC] Pretty sure this is not required
&uart0 {
	compatible = "nordic,nrf-uarte";
	tx-pin = <6>;
	rx-pin = <8>;
};
*/

/* For right hand, the columns are offset by 7 */ 
&default_transform {
	col-offset = <7>;
};

&kscan0 {
	row-gpios
		= <&gpio0 26 (GPIO_ACTIVE_HIGH | GPIO_PULL_DOWN)> // RH ROW1
		, <&gpio0 5 (GPIO_ACTIVE_HIGH | GPIO_PULL_DOWN)> // RH ROW2
		, <&gpio0 7 (GPIO_ACTIVE_HIGH | GPIO_PULL_DOWN)> // RH ROW3
		, <&gpio1 8 (GPIO_ACTIVE_HIGH | GPIO_PULL_DOWN)> // RH ROW4
		, <&gpio0 11 (GPIO_ACTIVE_HIGH | GPIO_PULL_DOWN)> // RH ROW5
		, <&gpio0 12 (GPIO_ACTIVE_HIGH | GPIO_PULL_DOWN)> // RH ROW6
		;
	col-gpios
		= <&gpio1 6 GPIO_ACTIVE_HIGH> // RH Thumb
		, <&gpio1 4 GPIO_ACTIVE_HIGH> // RH COL1
		, <&gpio0 2 GPIO_ACTIVE_HIGH> // RH COL2
		, <&gpio1 7 GPIO_ACTIVE_HIGH> // RH COL3
		, <&gpio1 5 GPIO_ACTIVE_HIGH> // RH COL4
		, <&gpio1 3 GPIO_ACTIVE_HIGH> // RH COL5
		, <&gpio1 1 GPIO_ACTIVE_HIGH> // RH COL6
		;
	input-gpios = <&gpio1 1 GPIO_ACTIVE_HIGH>; // Adding for firmware build
};
```

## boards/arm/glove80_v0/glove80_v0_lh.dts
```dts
/*
 * Copyright (c) 2021 The ZMK Contributors
 *
 * SPDX-License-Identifier: MIT
 */

/dts-v1/;
#include <nordic/nrf52840_qiaa.dtsi>
#include <dt-bindings/led/led.h>
#include "glove80_v0.dtsi"
#include "glove80_v0_lh-pinctrl.dtsi"

/ {
    model = "glove80_v0_lh";
    compatible = "glove80_v0_lh";

    chosen {
        zmk,underglow = &led_strip;
        zmk,backlight = &power_led_backlight;
        zmk,battery   = &vbatt;
        zmk,underglow-indicators = &underglow_indicators;
    };

	leds {
		compatible = "gpio-leds";
		red_led: led_0 {
			gpios = <&gpio1 10 GPIO_ACTIVE_HIGH >;
			label = "Red LED";
		};
	};

    power_led_backlight: pwmleds {
        compatible = "pwm-leds";
        pwm_led_0 {
            pwms = <&pwm0 0 PWM_USEC(20) PWM_POLARITY_NORMAL>;
        };
    };

    // Node name must match original "EXT_POWER" label to preserve user settings.
    EXT_POWER {
        compatible = "zmk,ext-power-generic";
        control-gpios = <&gpio0 30 GPIO_ACTIVE_HIGH>; /**[SC] WS2812_CE */
        init-delay-ms = <10>;
    };

    vbatt: vbatt-divider {
        compatible = "zmk,battery-voltage-divider";
        io-channels = <&adc 5>;
        output-ohms = <820000>; /** Double check that this is right */
        full-ohms = <(1500000 + 820000)>;
    };

    vbatt-vddh {
        compatible = "zmk,battery-nrf-vddh";
    };

/*
  MoErgo 40 LEDs

  34 28 22 16 10
  35 29 23 17 11 6
  36 30 24 18 12 7
  37 31 25 19 13 8
  38 32 26 20 14 9
  39 33 27 21 15
                0 1 2
                3 4 5
*/

    underglow_indicators: underglow-indicators {
        compatible  = "zmk,underglow-indicators";
        layer-state = <35 29 23 17 11 6>;
        bat-lhs     = <36 30 24 18 12 7>;
        bat-rhs     = <37 31 25 19 13 8>;
        capslock    = <22>;
        numlock     = <16>;
        scrolllock  = <10>;
        ble-state   = <3 4 0 1>;
        usb-state   = <5>;
        output-fallback = <15>;
    };
};

&spi1 {
    compatible = "nordic,nrf-spim";
    /* Cannot be used together with i2c0. */
    status = "okay";
	mosi-pin = <27>;
	// Unused pins, needed for SPI definition, but not used by the ws2812 driver itself.
	sck-pin = <24>; // NC
	miso-pin = <25>; // NC

    pinctrl-0 = <&spi1_default>;
    pinctrl-1 = <&spi1_sleep>;
    pinctrl-names = "default", "sleep";
    led_strip: ws2812@0 {
        compatible = "worldsemi,ws2812-spi";

        /* SPI */
        reg = <0>; /* ignored, but necessary for SPI bindings */
        spi-max-frequency = <2000000>;

        /* WS2812 */
        chain-length = <40>; /* 18 keys have underglow at the moment */
        spi-one-frame = <0x70>;
        spi-zero-frame = <0x40>;

        color-mapping = <LED_COLOR_ID_GREEN LED_COLOR_ID_RED LED_COLOR_ID_BLUE>;
    };
};

&pwm0 {
    status = "okay";
	ch0-pin = <42>; /* 32 * 1 + 10 */
    pinctrl-0 = <&pwm0_default>;
    pinctrl-1 = <&pwm0_sleep>;
    pinctrl-names = "default", "sleep";
};


// [SC] Not sure if this section is necessary
&uart0 {
    compatible = "nordic,nrf-uarte";
	tx-pin = <6>;
	rx-pin = <8>;
    pinctrl-0 = <&uart0_default>;
    pinctrl-1 = <&uart0_sleep>;
    pinctrl-names = "default", "sleep";
};

&kscan0 {
    row-gpios
        = <&gpio0 26 GPIO_ACTIVE_HIGH> // LH ROW1
        , <&gpio0 5 GPIO_ACTIVE_HIGH> // LH ROW2
        , <&gpio0 7 GPIO_ACTIVE_HIGH> // LH ROW3
        , <&gpio1 8 GPIO_ACTIVE_HIGH> // LH ROW4
        , <&gpio0 11 GPIO_ACTIVE_HIGH> // LH ROW5
        , <&gpio0 12 GPIO_ACTIVE_HIGH> // LH ROW6
        ;
    col-gpios
        = <&gpio1 1 (GPIO_ACTIVE_HIGH | GPIO_PULL_DOWN)> // LH COL6
        , <&gpio1 3 (GPIO_ACTIVE_HIGH | GPIO_PULL_DOWN)> // LH COL5
        , <&gpio1 5 (GPIO_ACTIVE_HIGH | GPIO_PULL_DOWN)> // LH COL4
        , <&gpio1 7 (GPIO_ACTIVE_HIGH | GPIO_PULL_DOWN)> // LH COL3
        , <&gpio1 6 (GPIO_ACTIVE_HIGH | GPIO_PULL_DOWN)> // LH COL2
        , <&gpio1 4 (GPIO_ACTIVE_HIGH | GPIO_PULL_DOWN)> // LH COL1
        , <&gpio0 2 (GPIO_ACTIVE_HIGH | GPIO_PULL_DOWN)> // LH Thumb
        ;
};
```

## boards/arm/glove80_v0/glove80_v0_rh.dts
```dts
/*
 * Copyright (c) 2021 The ZMK Contributors
 *
 * SPDX-License-Identifier: MIT
 */

/dts-v1/;
#include <nordic/nrf52840_qiaa.dtsi>
#include <dt-bindings/led/led.h>
#include "glove80_v0.dtsi"
#include "glove80_v0_rh-pinctrl.dtsi"

/ {
    model = "glove80_v0_rh";
    compatible = "glove80_v0_rh";

    chosen {
        zmk,underglow = &led_strip;
        zmk,backlight = &power_led_backlight;
        zmk,battery   = &vbatt;
    };

    leds {
        compatible = "gpio-leds";
        red_led: led_0 {
            gpios = <&gpio0 20 GPIO_ACTIVE_HIGH>;
        };
    };

    power_led_backlight: pwmleds {
        compatible = "pwm-leds";
        pwm_led_0 {
            pwms = <&pwm0 0 PWM_USEC(20) PWM_POLARITY_NORMAL>;
        };
    };

    // Node name must match original "EXT_POWER" label to preserve user settings.
    EXT_POWER {
        compatible = "zmk,ext-power-generic";
        control-gpios = <&gpio0 21 GPIO_ACTIVE_HIGH>; /**[SC] WS2812_CE */
        init-delay-ms = <10>;
    };

    vbatt: vbatt-divider {
        compatible = "zmk,battery-voltage-divider";
        io-channels = <&adc 5>;
        output-ohms = <820000>; /** Double check that this is right */
        full-ohms = <(1500000 + 820000)>;
    };

    vbatt-vddh {
        compatible = "zmk,battery-nrf-vddh";
    };
};

&spi1 {
    compatible = "nordic,nrf-spim";
    /* Cannot be used together with i2c0. */
    status = "okay";
	mosi-pin = <13>;
	// Unused pins, needed for SPI definition, but not used by the ws2812 driver itself.
	sck-pin = <24>; // NC
	miso-pin = <25>; // NC

    pinctrl-0 = <&spi1_default>;
    pinctrl-1 = <&spi1_sleep>;
    pinctrl-names = "default", "sleep";
    led_strip: ws2812@0 {
        compatible = "worldsemi,ws2812-spi";

        /* SPI */
        reg = <0>; /* ignored, but necessary for SPI bindings */
        spi-max-frequency = <2000000>;

        /* WS2812 */
        chain-length = <40>;
        spi-one-frame = <0x70>;
        spi-zero-frame = <0x40>;

        color-mapping = <LED_COLOR_ID_GREEN LED_COLOR_ID_RED LED_COLOR_ID_BLUE>;
    };
};

&pwm0 {
    status = "okay";
	ch0-pin = <20>; /* 32 * 0 + 20 */
    pinctrl-0 = <&pwm0_default>;
    pinctrl-1 = <&pwm0_sleep>;
    pinctrl-names = "default", "sleep";
};

// [SC] Not sure if this section is necessary
&uart0 {
    compatible = "nordic,nrf-uarte";
	tx-pin = <6>;
	rx-pin = <8>;
    pinctrl-0 = <&uart0_default>;
    pinctrl-1 = <&uart0_sleep>;
    pinctrl-names = "default", "sleep";
};

&default_transform {
    col-offset = <7>;
};

&kscan0 {
    row-gpios
        = <&gpio0 26 GPIO_ACTIVE_HIGH> // RH ROW1
        , <&gpio0 5 GPIO_ACTIVE_HIGH> // RH ROW2
        , <&gpio0 7 GPIO_ACTIVE_HIGH> // RH ROW3
        , <&gpio1 8 GPIO_ACTIVE_HIGH> // RH ROW4
        , <&gpio0 11 GPIO_ACTIVE_HIGH> // RH ROW5
        , <&gpio0 12 GPIO_ACTIVE_HIGH> // RH ROW6
        ;
    col-gpios
        = <&gpio0 2 (GPIO_ACTIVE_HIGH | GPIO_PULL_DOWN)> // RH Thumb
        , <&gpio1 4 (GPIO_ACTIVE_HIGH | GPIO_PULL_DOWN)> // RH COL1
        , <&gpio1 6 (GPIO_ACTIVE_HIGH | GPIO_PULL_DOWN)> // RH COL2
        , <&gpio1 7 (GPIO_ACTIVE_HIGH | GPIO_PULL_DOWN)> // RH COL3
        , <&gpio1 5 (GPIO_ACTIVE_HIGH | GPIO_PULL_DOWN)> // RH COL4
        , <&gpio1 3 (GPIO_ACTIVE_HIGH | GPIO_PULL_DOWN)> // RH COL5
        , <&gpio1 1 (GPIO_ACTIVE_HIGH | GPIO_PULL_DOWN)> // RH COL6
        ;
};
```

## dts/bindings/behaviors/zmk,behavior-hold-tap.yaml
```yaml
# Copyright (c) 2020 The ZMK Contributors
# SPDX-License-Identifier: MIT

description: Hold or Tap behavior

compatible: "zmk,behavior-hold-tap"

include: two_param.yaml

properties:
  bindings:
    type: phandles
    required: true
  tapping-term-ms:
    type: int
  tapping_term_ms:
    type: int
    deprecated: true
  quick-tap-ms:
    type: int
    default: -1
  quick_tap_ms:
    type: int
    deprecated: true
  global-quick-tap:
    type: boolean
    deprecated: true
  require-prior-idle-ms:
    type: int
    default: -1
  flavor:
    type: string
    required: false
    default: "hold-preferred"
    enum:
      - "hold-preferred"
      - "balanced"
      - "tap-preferred"
      - "tap-unless-interrupted"
  retro-tap:
    type: boolean
  hold-trigger-key-positions:
    type: array
    required: false
    default: []
```

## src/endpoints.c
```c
/*
 * Copyright (c) 2020 The ZMK Contributors
 *
 * SPDX-License-Identifier: MIT
 */

#include <zephyr/init.h>
#include <zephyr/settings/settings.h>

#include <stdio.h>

#include <zmk/ble.h>
#include <zmk/endpoints.h>
#include <zmk/hid.h>
#include <dt-bindings/zmk/hid_usage_pages.h>
#include <zmk/usb_hid.h>
#include <zmk/hog.h>
#include <zmk/event_manager.h>
#include <zmk/events/ble_active_profile_changed.h>
#include <zmk/events/usb_conn_state_changed.h>
#include <zmk/events/endpoint_changed.h>

#include <zephyr/logging/log.h>
LOG_MODULE_DECLARE(zmk, CONFIG_ZMK_LOG_LEVEL);

#define DEFAULT_TRANSPORT                                                                          \
    COND_CODE_1(IS_ENABLED(CONFIG_ZMK_BLE), (ZMK_TRANSPORT_BLE), (ZMK_TRANSPORT_USB))

static struct zmk_endpoint_instance current_instance = {};
static enum zmk_transport preferred_transport =
    ZMK_TRANSPORT_USB; /* Used if multiple endpoints are ready */

static void update_current_endpoint(void);

#if IS_ENABLED(CONFIG_SETTINGS)
static void endpoints_save_preferred_work(struct k_work *work) {
    settings_save_one("endpoints/preferred", &preferred_transport, sizeof(preferred_transport));
}

static struct k_work_delayable endpoints_save_work;
#endif

static int endpoints_save_preferred(void) {
#if IS_ENABLED(CONFIG_SETTINGS)
    return k_work_reschedule(&endpoints_save_work, K_MSEC(CONFIG_ZMK_SETTINGS_SAVE_DEBOUNCE));
#else
    return 0;
#endif
}

bool zmk_endpoint_instance_eq(struct zmk_endpoint_instance a, struct zmk_endpoint_instance b) {
    if (a.transport != b.transport) {
        return false;
    }

    switch (a.transport) {
    case ZMK_TRANSPORT_USB:
        return true;

    case ZMK_TRANSPORT_BLE:
        return a.ble.profile_index == b.ble.profile_index;
    }

    LOG_ERR("Invalid transport %d", a.transport);
    return false;
}

int zmk_endpoint_instance_to_str(struct zmk_endpoint_instance endpoint, char *str, size_t len) {
    switch (endpoint.transport) {
    case ZMK_TRANSPORT_USB:
        return snprintf(str, len, "USB");

    case ZMK_TRANSPORT_BLE:
        return snprintf(str, len, "BLE:%d", endpoint.ble.profile_index);

    default:
        return snprintf(str, len, "Invalid");
    }
}

#define INSTANCE_INDEX_OFFSET_USB 0
#define INSTANCE_INDEX_OFFSET_BLE ZMK_ENDPOINT_USB_COUNT

int zmk_endpoint_instance_to_index(struct zmk_endpoint_instance endpoint) {
    switch (endpoint.transport) {
    case ZMK_TRANSPORT_USB:
        return INSTANCE_INDEX_OFFSET_USB;

    case ZMK_TRANSPORT_BLE:
        return INSTANCE_INDEX_OFFSET_BLE + endpoint.ble.profile_index;
    }

    LOG_ERR("Invalid transport %d", endpoint.transport);
    return 0;
}

int zmk_endpoints_select_transport(enum zmk_transport transport) {
    LOG_DBG("Selected endpoint transport %d", transport);

    if (preferred_transport == transport) {
        return 0;
    }

    preferred_transport = transport;

    endpoints_save_preferred();

    update_current_endpoint();

    return 0;
}

int zmk_endpoints_toggle_transport(void) {
    enum zmk_transport new_transport =
        (preferred_transport == ZMK_TRANSPORT_USB) ? ZMK_TRANSPORT_BLE : ZMK_TRANSPORT_USB;
    return zmk_endpoints_select_transport(new_transport);
}

struct zmk_endpoint_instance zmk_endpoints_selected(void) {
    return current_instance;
}

static int send_keyboard_report(void) {
    switch (current_instance.transport) {
#if IS_ENABLED(CONFIG_ZMK_USB)
    case ZMK_TRANSPORT_USB: {
        int err = zmk_usb_hid_send_keyboard_report();
        if (err) {
            LOG_ERR("FAILED TO SEND OVER USB: %d", err);
        }
        return err;
    }
#endif /* IS_ENABLED(CONFIG_ZMK_USB) */

#if IS_ENABLED(CONFIG_ZMK_BLE)
    case ZMK_TRANSPORT_BLE: {
        struct zmk_hid_keyboard_report *keyboard_report = zmk_hid_get_keyboard_report();
        int err = zmk_hog_send_keyboard_report(&keyboard_report->body);
        if (err) {
            LOG_ERR("FAILED TO SEND OVER HOG: %d", err);
        }
        return err;
    }
#endif /* IS_ENABLED(CONFIG_ZMK_BLE) */
    }

    LOG_ERR("Unsupported endpoint transport %d", current_instance.transport);
    return -ENOTSUP;
}

static int send_consumer_report(void) {
    switch (current_instance.transport) {
#if IS_ENABLED(CONFIG_ZMK_USB)
    case ZMK_TRANSPORT_USB: {
        int err = zmk_usb_hid_send_consumer_report();
        if (err) {
            LOG_ERR("FAILED TO SEND OVER USB: %d", err);
        }
        return err;
    }
#endif /* IS_ENABLED(CONFIG_ZMK_USB) */

#if IS_ENABLED(CONFIG_ZMK_BLE)
    case ZMK_TRANSPORT_BLE: {
        struct zmk_hid_consumer_report *consumer_report = zmk_hid_get_consumer_report();
        int err = zmk_hog_send_consumer_report(&consumer_report->body);
        if (err) {
            LOG_ERR("FAILED TO SEND OVER HOG: %d", err);
        }
        return err;
    }
#endif /* IS_ENABLED(CONFIG_ZMK_BLE) */
    }

    LOG_ERR("Unsupported endpoint transport %d", current_instance.transport);
    return -ENOTSUP;
}

int zmk_endpoints_send_report(uint16_t usage_page) {

    LOG_DBG("usage page 0x%02X", usage_page);
    switch (usage_page) {
    case HID_USAGE_KEY:
        return send_keyboard_report();

    case HID_USAGE_CONSUMER:
        return send_consumer_report();
    }

    LOG_ERR("Unsupported usage page %d", usage_page);
    return -ENOTSUP;
}

#if IS_ENABLED(CONFIG_ZMK_MOUSE)
int zmk_endpoints_send_mouse_report() {
    switch (current_instance.transport) {
#if IS_ENABLED(CONFIG_ZMK_USB)
    case ZMK_TRANSPORT_USB: {
        int err = zmk_usb_hid_send_mouse_report();
        if (err) {
            LOG_ERR("FAILED TO SEND OVER USB: %d", err);
        }
        return err;
    }
#endif /* IS_ENABLED(CONFIG_ZMK_USB) */

#if IS_ENABLED(CONFIG_ZMK_BLE)
    case ZMK_TRANSPORT_BLE: {
        struct zmk_hid_mouse_report *mouse_report = zmk_hid_get_mouse_report();
        int err = zmk_hog_send_mouse_report(&mouse_report->body);
        if (err) {
            LOG_ERR("FAILED TO SEND OVER HOG: %d", err);
        }
        return err;
    }
#endif /* IS_ENABLED(CONFIG_ZMK_BLE) */
    }

    LOG_ERR("Unsupported endpoint transport %d", current_instance.transport);
    return -ENOTSUP;
}
#endif // IS_ENABLED(CONFIG_ZMK_MOUSE)

#if IS_ENABLED(CONFIG_SETTINGS)

static int endpoints_handle_set(const char *name, size_t len, settings_read_cb read_cb,
                                void *cb_arg) {
    LOG_DBG("Setting endpoint value %s", name);

    if (settings_name_steq(name, "preferred", NULL)) {
        if (len != sizeof(enum zmk_transport)) {
            LOG_ERR("Invalid endpoint size (got %d expected %d)", len, sizeof(enum zmk_transport));
            return -EINVAL;
        }

        int err = read_cb(cb_arg, &preferred_transport, sizeof(enum zmk_transport));
        if (err <= 0) {
            LOG_ERR("Failed to read preferred endpoint from settings (err %d)", err);
            return err;
        }

        update_current_endpoint();
    }

    return 0;
}

struct settings_handler endpoints_handler = {.name = "endpoints", .h_set = endpoints_handle_set};
#endif /* IS_ENABLED(CONFIG_SETTINGS) */

static bool is_usb_ready(void) {
#if IS_ENABLED(CONFIG_ZMK_USB)
    return zmk_usb_is_hid_ready();
#else
    return false;
#endif
}

static bool is_ble_ready(void) {
#if IS_ENABLED(CONFIG_ZMK_BLE)
    return zmk_ble_active_profile_is_connected();
#else
    return false;
#endif
}

static enum zmk_transport get_selected_transport(void) {
    if (is_ble_ready()) {
        if (is_usb_ready()) {
            LOG_DBG("Both endpoint transports are ready. Using %d", preferred_transport);
            return preferred_transport;
        }

        LOG_DBG("Only BLE is ready.");
        return ZMK_TRANSPORT_BLE;
    }

    if (is_usb_ready()) {
        LOG_DBG("Only USB is ready.");
        return ZMK_TRANSPORT_USB;
    }

    LOG_DBG("No endpoint transports are ready.");
    return DEFAULT_TRANSPORT;
}

static struct zmk_endpoint_instance get_selected_instance(void) {
    struct zmk_endpoint_instance instance = {.transport = get_selected_transport()};

    switch (instance.transport) {
#if IS_ENABLED(CONFIG_ZMK_BLE)
    case ZMK_TRANSPORT_BLE:
        instance.ble.profile_index = zmk_ble_active_profile_index();
        break;
#endif // IS_ENABLED(CONFIG_ZMK_BLE)

    default:
        // No extra data for this transport.
        break;
    }

    return instance;
}

bool zmk_endpoints_preferred_transport_is_active(void) {
    return preferred_transport == get_selected_transport();
}

static int zmk_endpoints_init(void) {
#if IS_ENABLED(CONFIG_SETTINGS)
    settings_subsys_init();

    int err = settings_register(&endpoints_handler);
    if (err) {
        LOG_ERR("Failed to register the endpoints settings handler (err %d)", err);
        return err;
    }

    k_work_init_delayable(&endpoints_save_work, endpoints_save_preferred_work);

    settings_load_subtree("endpoints");
#endif

    current_instance = get_selected_instance();

    return 0;
}

static void disconnect_current_endpoint(void) {
    zmk_hid_keyboard_clear();
    zmk_hid_consumer_clear();
#if IS_ENABLED(CONFIG_ZMK_MOUSE)
    zmk_hid_mouse_clear();
#endif // IS_ENABLED(CONFIG_ZMK_MOUSE)

    zmk_endpoints_send_report(HID_USAGE_KEY);
    zmk_endpoints_send_report(HID_USAGE_CONSUMER);
}

static void update_current_endpoint(void) {
    struct zmk_endpoint_instance new_instance = get_selected_instance();

    if (!zmk_endpoint_instance_eq(new_instance, current_instance)) {
        // Cancel all current keypresses so keys don't stay held on the old endpoint.
        disconnect_current_endpoint();

        current_instance = new_instance;

        char endpoint_str[ZMK_ENDPOINT_STR_LEN];
        zmk_endpoint_instance_to_str(current_instance, endpoint_str, sizeof(endpoint_str));
        LOG_INF("Endpoint changed: %s", endpoint_str);

        raise_zmk_endpoint_changed((struct zmk_endpoint_changed){.endpoint = current_instance});
    }
}

static int endpoint_listener(const zmk_event_t *eh) {
    update_current_endpoint();
    return 0;
}

ZMK_LISTENER(endpoint_listener, endpoint_listener);
#if IS_ENABLED(CONFIG_ZMK_USB)
ZMK_SUBSCRIPTION(endpoint_listener, zmk_usb_conn_state_changed);
#endif
#if IS_ENABLED(CONFIG_ZMK_BLE)
ZMK_SUBSCRIPTION(endpoint_listener, zmk_ble_active_profile_changed);
#endif

SYS_INIT(zmk_endpoints_init, APPLICATION, CONFIG_APPLICATION_INIT_PRIORITY);
```
